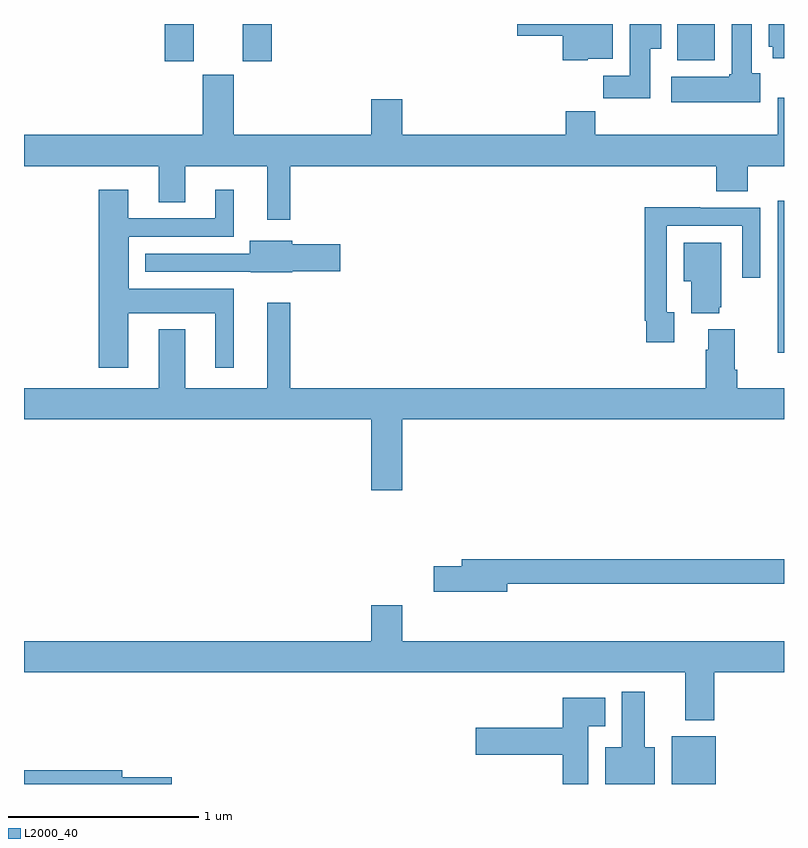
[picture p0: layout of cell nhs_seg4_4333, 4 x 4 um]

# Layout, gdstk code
import gdstk
lib = gdstk.Library(unit=1e-6, precision=1e-09)
def R(c, l, rs):  # rectangles x0, y0, x1, y1
    for r in rs: c.add(gdstk.rectangle(r[:2], r[2:], *l))
def P(c, l, *ps):  # polygons
    for p in ps: c.add(gdstk.Polygon(p, *l))
L2000_40 = (2000, 40)

nhs_seg4_4333 = lib.new_cell('nhs_seg4_4333')
R(nhs_seg4_4333, L2000_40, [(346.409,794.9,346.642,795.151), (343.742,798.705,343.894,798.9), (344.15,798.705,344.303,798.9), (346.439,798.71,346.636,798.9)])
P(nhs_seg4_4333, L2000_40, [(346.297,798.769),(346.354,798.769),(346.354,798.9),(346.187,798.9),(346.187,798.628),(346.048,798.628),(346.048,798.51),(346.297,798.51)],
  [(346.876,798.642),(346.831,798.642),(346.831,798.9),(346.724,798.9),(346.724,798.636),(346.711,798.636),(346.711,798.622),(346.407,798.622),(346.407,798.488),(346.876,798.488)],
  [(347,798.9),(346.919,798.9),(346.919,798.78),(346.94,798.78),(346.94,798.72),(347,798.72)],
  [(345.966,798.716),(346.099,798.716),(346.099,798.9),(345.596,798.9),(345.596,798.839),(345.836,798.839),(345.836,798.71),(345.966,798.71)],
  [(344.401,798.152),(346.643,798.152),(346.643,798.019),(346.808,798.019),(346.808,798.152),(347,798.152),(347,798.511),(346.967,798.511),(346.967,798.316),(346.007,798.316),(346.007,798.44),(345.851,798.44),(345.851,798.316),(344.992,798.316),(344.992,798.505),(344.828,798.505),(344.828,798.316),(344.104,798.316),(344.104,798.633),(343.94,798.633),(343.94,798.316),(343,798.316),(343,798.152),(343.709,798.152),(343.709,797.962),(343.849,797.962),(343.849,798.152),(344.279,798.152),(344.279,797.871),(344.401,797.871)],
  [(343.549,797.378),(344.006,797.378),(344.006,797.091),(344.104,797.091),(344.104,797.506),(343.552,797.506),(343.552,797.781),(344.104,797.781),(344.104,798.028),(344.006,798.028),(344.006,797.877),(343.549,797.877),(343.549,798.028),(343.394,798.028),(343.394,797.091),(343.549,797.091)],
  [(347,797.971),(346.968,797.971),(346.968,797.477),(346.966,797.477),(346.966,797.171),(347,797.171)],
  [(346.423,797.382),(346.383,797.382),(346.383,797.838),(346.779,797.838),(346.779,797.565),(346.875,797.565),(346.875,797.934),(346.559,797.934),(346.559,797.936),(346.267,797.936),(346.267,797.338),(346.275,797.338),(346.275,797.226),(346.423,797.226)],
  [(344.412,797.6),(344.665,797.6),(344.665,797.742),(344.412,797.742),(344.412,797.758),(344.189,797.758),(344.189,797.691),(343.637,797.691),(343.637,797.595),(344.193,797.595),(344.193,797.594),(344.412,797.594)],
  [(346.658,797.409),(346.669,797.409),(346.669,797.749),(346.472,797.749),(346.472,797.546),(346.511,797.546),(346.511,797.378),(346.658,797.378)],
  [(344.992,796.82),(347,796.82),(347,796.984),(346.754,796.984),(346.754,797.08),(346.741,797.08),(346.741,797.293),(346.601,797.293),(346.601,797.186),(346.589,797.186),(346.589,796.984),(344.401,796.984),(344.401,797.434),(344.279,797.434),(344.279,796.984),(343.849,796.984),(343.849,797.293),(343.709,797.293),(343.709,796.984),(343,796.984),(343,796.82),(344.828,796.82),(344.828,796.446),(344.992,796.446)],
  [(345.544,795.954),(347,795.954),(347,796.082),(345.305,796.082),(345.305,796.046),(345.156,796.046),(345.156,795.911),(345.544,795.911)],
  [(346.634,795.488),(347,795.488),(347,795.652),(344.992,795.652),(344.992,795.841),(344.828,795.841),(344.828,795.652),(343,795.652),(343,795.488),(346.481,795.488),(346.481,795.236),(346.634,795.236)],
  [(346.321,795.094),(346.267,795.094),(346.267,795.385),(346.145,795.385),(346.145,795.094),(346.058,795.094),(346.058,794.9),(346.321,794.9)],
  [(345.97,795.203),(346.06,795.203),(346.06,795.355),(345.836,795.355),(345.836,795.195),(345.378,795.195),(345.378,795.053),(345.836,795.053),(345.836,794.9),(345.97,794.9)],
  [(343.777,794.936),(343.516,794.936),(343.516,794.972),(343,794.972),(343,794.9),(343.777,794.9)])

lib.write_gds('nhs_seg4_4333.gds')
